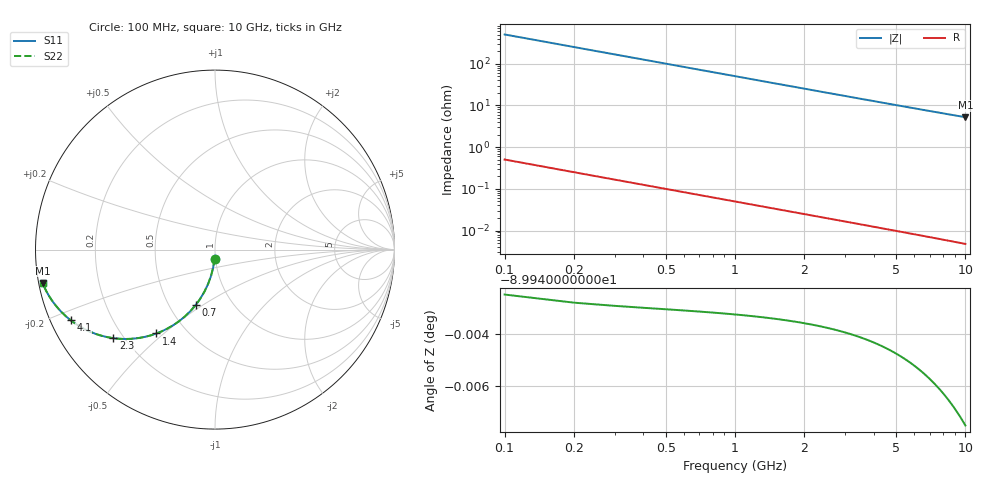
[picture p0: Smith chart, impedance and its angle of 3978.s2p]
# Hz S RI R 50.00
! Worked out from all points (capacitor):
!   100 points, 100 MHz to 10 GHz, reference 50 ohm
!   read as one part in shunt: C = 3.17 pF near 100 MHz
!   lowest |Z| = 5.22 ohm at 10 GHz (marker M1)
!   S11 on the Smith chart (normalised r, x): 100 MHz: 0.99, -0.10; 700 MHz: 0.67, -0.47; 1.4 GHz: 0.34, -0.47; 2.3 GHz: 0.16, -0.37; 4.1 GHz: 0.06, -0.23; 10 GHz: 0.01, -0.10
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1e8  -0.00251 -0.0496  0.9975 -0.0497  0.9975 -0.0497  -0.00251 -0.0496
2e8  -0.0099 -0.0984  0.9901 -0.0987  0.9901 -0.0987  -0.0099 -0.0984
3e8  -0.0219 -0.1458  0.978 -0.1463  0.978 -0.1463  -0.0219 -0.1458
4e8  -0.0383 -0.1912  0.9617 -0.1917  0.9617 -0.1917  -0.0383 -0.1912
5e8  -0.0585 -0.2339  0.9415 -0.2346  0.9415 -0.2346  -0.0585 -0.2339
6e8  -0.0821 -0.2736  0.9179 -0.2745  0.9179 -0.2745  -0.0821 -0.2736
7e8  -0.1084 -0.3099  0.8915 -0.311  0.8915 -0.311  -0.1084 -0.3099
8e8  -0.137 -0.3428  0.863 -0.344  0.863 -0.344  -0.137 -0.3428
1e9  -0.1986 -0.3977  0.8014 -0.3992  0.8014 -0.3992  -0.1986 -0.3977
1.2e9  -0.2628 -0.4388  0.7372 -0.4405  0.7372 -0.4405  -0.2628 -0.4388
1.4e9  -0.3265 -0.4674  0.6735 -0.4695  0.6735 -0.4695  -0.3265 -0.4674
1.6e9  -0.3875 -0.4855  0.6125 -0.4878  0.6125 -0.4878  -0.3875 -0.4855
1.8e9  -0.4445 -0.4951  0.5555 -0.4977  0.5555 -0.4977  -0.4445 -0.4951
2.3e9  -0.5659 -0.4934  0.434 -0.4968  0.434 -0.4968  -0.5659 -0.4934
2.8e9  -0.6586 -0.4716  0.3414 -0.4757  0.3414 -0.4757  -0.6586 -0.4716
3.4e9  -0.7395 -0.4359  0.2605 -0.4409  0.2605 -0.4409  -0.7395 -0.4359
4.1e9  -0.8047 -0.3929  0.1952 -0.3989  0.1952 -0.3989  -0.8047 -0.3929
5.1e9  -0.8642 -0.3382  0.1357 -0.3458  0.1357 -0.3458  -0.8642 -0.3382
5.8e9  -0.8916 -0.306  0.1083 -0.3147  0.1083 -0.3147  -0.8916 -0.306
6.7e9  -0.9165 -0.2711  0.0835 -0.2811  0.0835 -0.2811  -0.9165 -0.2711
8.4e9  -0.9452 -0.2205  0.0547 -0.2333  0.0547 -0.2333  -0.9452 -0.2205
1e10  -0.9608 -0.1857  0.039 -0.201  0.039 -0.201  -0.9608 -0.1857
